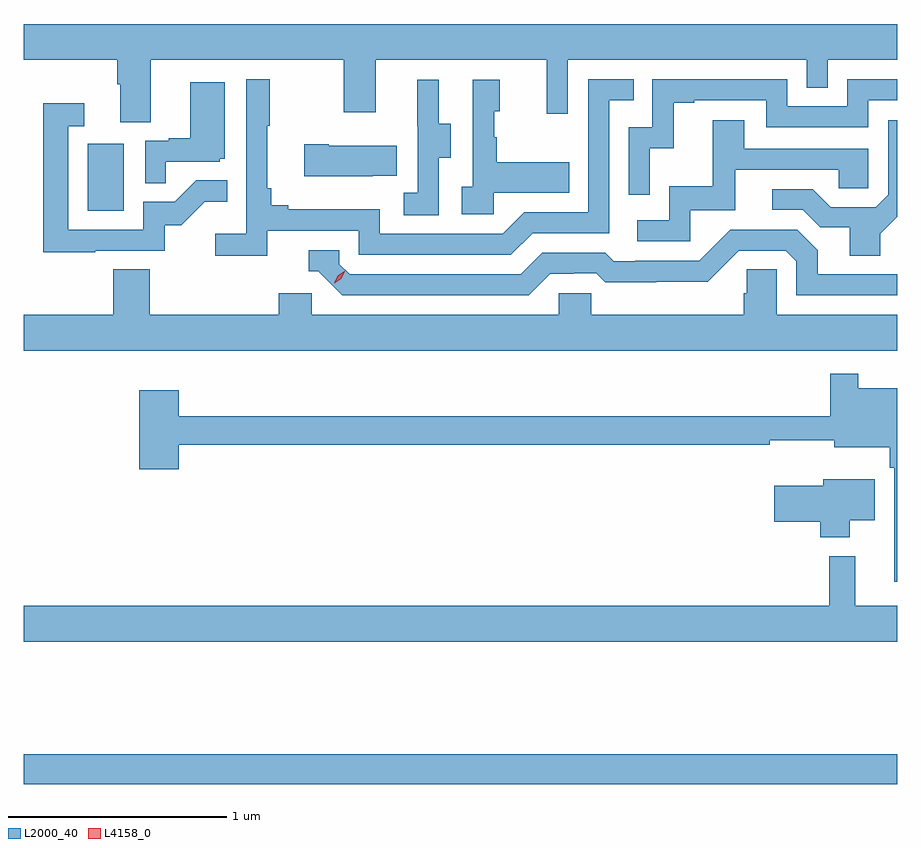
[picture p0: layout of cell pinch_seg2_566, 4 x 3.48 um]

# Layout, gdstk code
import gdstk
lib = gdstk.Library(unit=1e-6, precision=1e-09)
def R(c, l, rs):  # rectangles x0, y0, x1, y1
    for r in rs: c.add(gdstk.rectangle(r[:2], r[2:], *l))
def P(c, l, *ps):  # polygons
    for p in ps: c.add(gdstk.Polygon(p, *l))
L2000_40 = (2000, 40)
L4158_0 = (4158, 0)

pinch_seg2_566 = lib.new_cell('pinch_seg2_566')
R(pinch_seg2_566, L2000_40, [(1079.666,608.356,1083.666,608.492), (1079.96,610.98,1080.124,611.287)])
P(pinch_seg2_566, L2000_40, [(1080.247,611.672),(1081.132,611.672),(1081.132,611.433),(1081.279,611.433),(1081.279,611.672),(1082.06,611.672),(1082.06,611.424),(1082.157,611.424),(1082.157,611.672),(1083.252,611.672),(1083.252,611.545),(1083.348,611.545),(1083.348,611.672),(1083.666,611.672),(1083.666,611.836),(1079.666,611.836),(1079.666,611.672),(1080.095,611.672),(1080.095,611.56),(1080.107,611.56),(1080.107,611.386),(1080.247,611.386)],
  [(1080.782,610.89),(1081.2,610.89),(1081.2,610.779),(1081.897,610.779),(1081.996,610.878),(1082.346,610.878),(1082.346,611.487),(1082.459,611.487),(1082.459,611.583),(1082.25,611.583),(1082.25,610.974),(1081.959,610.974),(1081.86,610.875),(1081.296,610.875),(1081.296,610.987),(1080.877,610.987),(1080.877,611.006),(1080.8,611.006),(1080.8,611.083),(1080.781,611.083),(1080.781,611.371),(1080.793,611.371),(1080.793,611.584),(1080.684,611.584),(1080.684,610.876),(1080.543,610.876),(1080.543,610.774),(1080.782,610.774)],
  [(1082.532,611.267),(1082.642,611.267),(1082.642,611.475),(1082.737,611.475),(1082.737,611.487),(1083.066,611.487),(1083.066,611.364),(1083.534,611.364),(1083.534,611.487),(1083.666,611.487),(1083.666,611.583),(1083.438,611.583),(1083.438,611.46),(1083.162,611.46),(1083.162,611.583),(1082.544,611.583),(1082.544,611.364),(1082.436,611.364),(1082.436,611.055),(1082.532,611.055)],
  [(1081.818,611.063),(1082.165,611.063),(1082.165,611.203),(1081.831,611.203),(1081.831,611.318),(1081.821,611.318),(1081.821,611.436),(1081.846,611.436),(1081.846,611.581),(1081.722,611.581),(1081.722,611.09),(1081.671,611.09),(1081.671,610.965),(1081.818,610.965)],
  [(1081.566,611.224),(1081.621,611.224),(1081.621,611.379),(1081.567,611.379),(1081.567,611.581),(1081.469,611.581),(1081.469,611.367),(1081.47,611.367),(1081.47,611.063),(1081.407,611.063),(1081.407,610.96),(1081.566,610.96)],
  [(1080.317,611.205),(1080.564,611.205),(1080.564,611.22),(1080.586,611.22),(1080.586,611.569),(1080.428,611.569),(1080.428,611.314),(1080.329,611.314),(1080.329,611.301),(1080.222,611.301),(1080.222,611.107),(1080.317,611.107)],
  [(1079.993,610.797),(1080.312,610.797),(1080.312,610.914),(1080.388,610.914),(1080.495,611.021),(1080.599,611.021),(1080.599,611.12),(1080.455,611.12),(1080.357,611.022),(1080.213,611.022),(1080.213,610.893),(1079.871,610.893),(1079.871,611.367),(1079.944,611.367),(1079.944,611.473),(1079.755,611.473),(1079.755,610.792),(1079.993,610.792)],
  [(1083.589,610.876),(1083.666,610.953),(1083.666,611.395),(1083.624,611.395),(1083.624,611.055),(1083.567,610.998),(1083.361,610.998),(1083.28,611.079),(1083.093,611.079),(1083.093,610.986),(1083.234,610.986),(1083.314,610.906),(1083.449,610.906),(1083.449,610.774),(1083.589,610.774)],
  [(1082.718,610.983),(1082.923,610.983),(1082.923,611.169),(1083.397,611.169),(1083.397,611.085),(1083.534,611.085),(1083.534,611.265),(1082.965,611.265),(1082.965,611.395),(1082.821,611.395),(1082.821,611.092),(1082.622,611.092),(1082.622,610.938),(1082.475,610.938),(1082.475,610.842),(1082.718,610.842)],
  [(1081.265,611.141),(1081.373,611.141),(1081.373,611.278),(1081.063,611.278),(1081.063,611.286),(1080.951,611.286),(1080.951,611.138),(1081.265,611.138)],
  [(1082.077,610.692),(1082.184,610.692),(1082.184,610.695),(1082.287,610.695),(1082.329,610.653),(1082.562,610.653),(1082.562,610.655),(1082.798,610.655),(1082.94,610.797),(1083.156,610.797),(1083.204,610.749),(1083.204,610.593),(1083.666,610.593),(1083.666,610.689),(1083.301,610.689),(1083.301,610.799),(1083.207,610.893),(1082.901,610.893),(1082.76,610.752),(1082.467,610.752),(1082.467,610.749),(1082.368,610.749),(1082.329,610.788),(1082.04,610.788),(1081.941,610.689),(1081.158,610.689),(1081.11,610.737),(1081.11,610.8),(1080.971,610.8),(1080.971,610.704),(1081.014,610.704),(1081.125,610.593),(1081.978,610.593)],
  [(1083.666,610.504),(1083.114,610.504),(1083.114,610.712),(1082.977,610.712),(1082.977,610.602),(1082.963,610.602),(1082.963,610.504),(1082.265,610.504),(1082.265,610.602),(1082.115,610.602),(1082.115,610.504),(1080.984,610.504),(1080.984,610.602),(1080.833,610.602),(1080.833,610.504),(1080.242,610.504),(1080.242,610.712),(1080.077,610.712),(1080.077,610.504),(1079.666,610.504),(1079.666,610.34),(1083.666,610.34)],
  [(1083.666,610.168),(1083.487,610.168),(1083.487,610.234),(1083.358,610.234),(1083.358,610.039),(1080.377,610.039),(1080.377,610.159),(1080.194,610.159),(1080.194,609.798),(1080.377,609.798),(1080.377,609.91),(1083.081,609.91),(1083.081,609.929),(1083.377,609.929),(1083.377,609.899),(1083.631,609.899),(1083.631,609.803),(1083.651,609.803),(1083.651,609.282),(1083.666,609.282)],
  [(1083.448,609.563),(1083.562,609.563),(1083.562,609.751),(1083.326,609.751),(1083.326,609.721),(1083.102,609.721),(1083.102,609.556),(1083.314,609.556),(1083.314,609.485),(1083.448,609.485)],
  [(1083.666,609.172),(1083.473,609.172),(1083.473,609.4),(1083.355,609.4),(1083.355,609.172),(1079.666,609.172),(1079.666,609.008),(1083.666,609.008)])
P(pinch_seg2_566, L4158_0, [(1081.088,610.649),(1081.088,610.65),(1081.104,610.683),(1081.134,610.703),(1081.135,610.703),(1081.135,610.703),(1081.119,610.67),(1081.088,610.649)])

lib.write_gds('pinch_seg2_566.gds')
